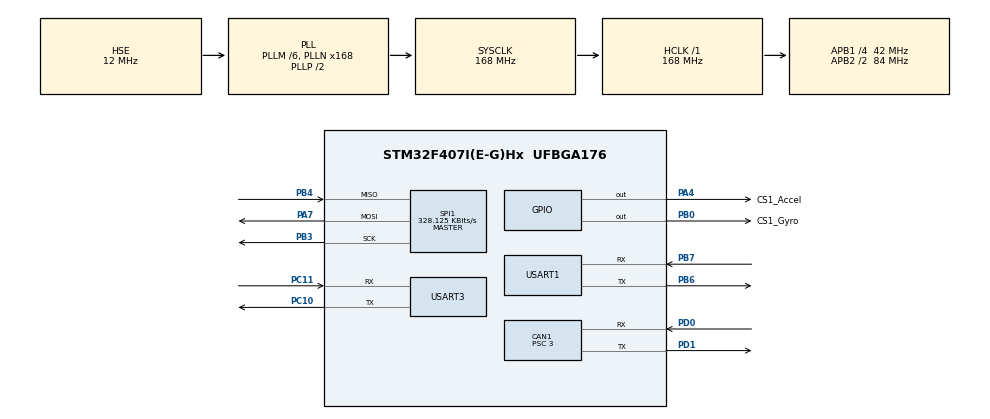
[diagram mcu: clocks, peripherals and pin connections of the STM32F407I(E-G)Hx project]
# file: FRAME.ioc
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CAN1.ABOM=ENABLE
CAN1.BS1=CAN_BS1_10TQ
CAN1.BS2=CAN_BS2_3TQ
CAN1.CalculateBaudRate=1000000
CAN1.CalculateTimeBit=1000
CAN1.CalculateTimeQuantum=71.42857142857143
CAN1.Prescaler=3
Dma.Request0=USART1_TX
Dma.Request1=USART3_RX
Dma.USART1_TX.0.Direction=DMA_MEMORY_TO_PERIPH
Dma.USART1_TX.0.FIFOMode=DMA_FIFOMODE_DISABLE
Dma.USART1_TX.0.Instance=DMA2_Stream7
Dma.USART1_TX.0.MemDataAlignment=DMA_MDATAALIGN_BYTE
Dma.USART1_TX.0.MemInc=DMA_MINC_ENABLE
Dma.USART1_TX.0.Mode=DMA_NORMAL
Dma.USART1_TX.0.PeriphDataAlignment=DMA_PDATAALIGN_BYTE
Dma.USART1_TX.0.PeriphInc=DMA_PINC_DISABLE
Dma.USART1_TX.0.Priority=DMA_PRIORITY_VERY_HIGH
Dma.USART3_RX.1.Direction=DMA_PERIPH_TO_MEMORY
Dma.USART3_RX.1.FIFOMode=DMA_FIFOMODE_DISABLE
Dma.USART3_RX.1.Instance=DMA1_Stream1
Dma.USART3_RX.1.MemDataAlignment=DMA_MDATAALIGN_BYTE
Dma.USART3_RX.1.MemInc=DMA_MINC_ENABLE
Dma.USART3_RX.1.Mode=DMA_NORMAL
Dma.USART3_RX.1.PeriphDataAlignment=DMA_PDATAALIGN_BYTE
Dma.USART3_RX.1.PeriphInc=DMA_PINC_DISABLE
Dma.USART3_RX.1.Priority=DMA_PRIORITY_VERY_HIGH
Mcu.Family=STM32F4
Mcu.Name=STM32F407I(E-G)Hx
Mcu.Package=UFBGA176
NVIC.CAN1_RX0_IRQn=true\:0\:0\:false\:false\:true\:true\:true\:true
NVIC.CAN1_RX1_IRQn=true\:0\:0\:false\:false\:true\:true\:true\:true
NVIC.CAN1_SCE_IRQn=true\:0\:0\:false\:false\:true\:true\:true\:true
NVIC.CAN1_TX_IRQn=true\:0\:0\:false\:false\:true\:true\:true\:true
NVIC.DMA1_Stream1_IRQn=true\:0\:0\:false\:false\:true\:false\:true\:true
NVIC.DMA2_Stream7_IRQn=true\:0\:0\:false\:false\:true\:false\:true\:true
NVIC.PriorityGroup=NVIC_PRIORITYGROUP_4
NVIC.SPI1_IRQn=true\:0\:0\:false\:false\:true\:true\:true\:true
NVIC.TIM1_BRK_TIM9_IRQn=true\:0\:0\:false\:false\:true\:true\:true\:true
NVIC.TIM1_CC_IRQn=true\:0\:0\:false\:false\:true\:true\:true\:true
NVIC.TIM1_TRG_COM_TIM11_IRQn=true\:0\:0\:false\:false\:true\:true\:true\:true
NVIC.TIM1_UP_TIM10_IRQn=true\:0\:0\:false\:false\:true\:true\:true\:true
NVIC.USART1_IRQn=true\:0\:0\:false\:false\:true\:false\:true\:true
PA13.Mode=Serial_Wire
PA13.Signal=SYS_JTMS-SWDIO
PA14.Mode=Serial_Wire
PA14.Signal=SYS_JTCK-SWCLK
PA4.GPIO_Label=CS1_Accel
PA4.GPIO_ModeDefaultOutputPP=GPIO_MODE_OUTPUT_PP
PA4.GPIO_PuPd=GPIO_PULLUP
PA4.PinState=GPIO_PIN_SET
PA4.Signal=GPIO_Output
PA7.Mode=Full_Duplex_Master
PA7.Signal=SPI1_MOSI
PB0.GPIO_Label=CS1_Gyro
PB0.GPIO_PuPd=GPIO_PULLUP
PB0.PinState=GPIO_PIN_SET
PB0.Signal=GPIO_Output
PB3.Mode=Full_Duplex_Master
PB3.Signal=SPI1_SCK
PB4.Mode=Full_Duplex_Master
PB4.Signal=SPI1_MISO
PB6.Mode=Asynchronous
PB6.Signal=USART1_TX
PB7.Mode=Asynchronous
PB7.Signal=USART1_RX
PC10.Mode=Asynchronous
PC10.Signal=USART3_TX
PC11.Mode=Asynchronous
PC11.Signal=USART3_RX
PD0.Mode=CAN_Activate
PD0.Signal=CAN1_RX
PD1.Mode=CAN_Activate
PD1.Signal=CAN1_TX
PH0-OSC_IN.Mode=HSE-External-Oscillator
PH0-OSC_IN.Signal=RCC_OSC_IN
PH1-OSC_OUT.Mode=HSE-External-Oscillator
PH1-OSC_OUT.Signal=RCC_OSC_OUT
ProjectManager.HeapSize=0x200
ProjectManager.StackSize=0x400
ProjectManager.TargetToolchain=STM32CubeIDE
RCC.48MHZClocksFreq_Value=84000000
RCC.AHBFreq_Value=168000000
RCC.APB1CLKDivider=RCC_HCLK_DIV4
RCC.APB1Freq_Value=42000000
RCC.APB1TimFreq_Value=84000000
RCC.APB2CLKDivider=RCC_HCLK_DIV2
RCC.APB2Freq_Value=84000000
RCC.APB2TimFreq_Value=168000000
RCC.CortexFreq_Value=168000000
RCC.HCLKFreq_Value=168000000
RCC.HSE_VALUE=12000000
RCC.HSI_VALUE=16000000
RCC.LSE_VALUE=32768
RCC.PLLM=6
RCC.PLLN=168
RCC.PLLSourceVirtual=RCC_PLLSOURCE_HSE
RCC.SYSCLKFreq_VALUE=168000000
RCC.SYSCLKSource=RCC_SYSCLKSOURCE_PLLCLK
RCC.VCOOutputFreq_Value=336000000
SPI1.BaudRatePrescaler=SPI_BAUDRATEPRESCALER_256
SPI1.CLKPhase=SPI_PHASE_2EDGE
SPI1.CLKPolarity=SPI_POLARITY_HIGH
SPI1.CalculateBaudRate=328.125 KBits/s
SPI1.Direction=SPI_DIRECTION_2LINES
SPI1.Mode=SPI_MODE_MASTER
SPI1.VirtualType=VM_MASTER
TIM1.Period=1000-1
TIM1.Prescaler=168-1
USART1.VirtualMode=VM_ASYNC
USART3.VirtualMode=VM_ASYNC
VP_TIM1_VS_ClockSourceINT.Mode=Internal
board=custom

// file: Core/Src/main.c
/* USER CODE BEGIN Header */
/**
  ******************************************************************************
  * @file           : main.c
  * @brief          : Main program body
  ******************************************************************************
  * @attention
  *
  * Copyright (c) 2024 STMicroelectronics.
  * All rights reserved.
  *
  * This software is licensed under terms that can be found in the LICENSE file
  * in the root directory of this software component.
  * If no LICENSE file comes with this software, it is provided AS-IS.
  *
  ******************************************************************************
  */
/* USER CODE END Header */
#include "main.h"
#include "can.h"
#include "dma.h"
#include "spi.h"
#include "tim.h"
#include "usart.h"
#include "gpio.h"

/* USER CODE BEGIN Includes */
#include <ctype.h>
#include <math.h>
#include "imu.h"
#include "motor.h"

/* USER CODE END Includes */

void SystemClock_Config(void);

/* USER CODE BEGIN 0 */

//uint32_t mainCnt = 0;

void ConfigureCANFilter(CAN_HandleTypeDef *hcan, uint32_t filterBank, uint32_t canId) {
  CAN_FilterTypeDef filterConfig;

  filterConfig.FilterActivation = ENABLE;
  filterConfig.FilterIdHigh = canId >> 16;
  filterConfig.FilterIdLow = canId & 0xFFFF;
  filterConfig.FilterMaskIdHigh = 0x0000;
  filterConfig.FilterMaskIdLow = 0x0000;
  filterConfig.FilterMode = CAN_FILTERMODE_IDMASK;
  filterConfig.FilterScale = CAN_FILTERSCALE_32BIT;
  filterConfig.FilterFIFOAssignment = CAN_FILTER_FIFO0;
  filterConfig.FilterBank = filterBank;

  HAL_CAN_ConfigFilter(hcan, &filterConfig);
}

/* USER CODE END 0 */

int main(void)
{

  /* MCU Configuration--------------------------------------------------------*/

  /* Reset of all peripherals, Initializes the Flash interface and the Systick. */
  HAL_Init();

  /* Configure the system clock */
  SystemClock_Config();

  /* Initialize all configured peripherals */
  MX_GPIO_Init();
  MX_DMA_Init();
  MX_TIM1_Init();
  MX_USART1_UART_Init();
  MX_USART3_UART_Init();
  MX_CAN1_Init();
  MX_SPI1_Init();
  /* USER CODE BEGIN 2 */
  imu.init();
  HAL_TIM_Base_Start_IT(&htim1);

  ConfigureCANFilter(&hcan1, 0, CAN_MOTOR_YAW_ID);
  ConfigureCANFilter(&hcan1, 1, CAN_MOTOR_PIT_ID);

  HAL_CAN_Start(&hcan1);
  HAL_CAN_ActivateNotification(&hcan1, CAN_IT_RX_FIFO0_MSG_PENDING);

  /* USER CODE END 2 */

  /* Infinite loop */
  while (1)
  {

  }
}

void SystemClock_Config(void)
{
  RCC_OscInitTypeDef RCC_OscInitStruct = {0};
  RCC_ClkInitTypeDef RCC_ClkInitStruct = {0};

  /** Configure the main internal regulator output voltage
  */
  __HAL_RCC_PWR_CLK_ENABLE();
  __HAL_PWR_VOLTAGESCALING_CONFIG(PWR_REGULATOR_VOLTAGE_SCALE1);

  /** Initializes the RCC Oscillators according to the specified parameters
  * in the RCC_OscInitTypeDef structure.
  */
  RCC_OscInitStruct.OscillatorType = RCC_OSCILLATORTYPE_HSE;
  RCC_OscInitStruct.HSEState = RCC_HSE_ON;
  RCC_OscInitStruct.PLL.PLLState = RCC_PLL_ON;
  RCC_OscInitStruct.PLL.PLLSource = RCC_PLLSOURCE_HSE;
  RCC_OscInitStruct.PLL.PLLM = 6;
  RCC_OscInitStruct.PLL.PLLN = 168;
  RCC_OscInitStruct.PLL.PLLP = RCC_PLLP_DIV2;
  RCC_OscInitStruct.PLL.PLLQ = 4;
  if (HAL_RCC_OscConfig(&RCC_OscInitStruct) != HAL_OK)
  {
    Error_Handler();
  }

  /** Initializes the CPU, AHB and APB buses clocks
  */
  RCC_ClkInitStruct.ClockType = RCC_CLOCKTYPE_HCLK|RCC_CLOCKTYPE_SYSCLK
                              |RCC_CLOCKTYPE_PCLK1|RCC_CLOCKTYPE_PCLK2;
  RCC_ClkInitStruct.SYSCLKSource = RCC_SYSCLKSOURCE_PLLCLK;
  RCC_ClkInitStruct.AHBCLKDivider = RCC_SYSCLK_DIV1;
  RCC_ClkInitStruct.APB1CLKDivider = RCC_HCLK_DIV4;
  RCC_ClkInitStruct.APB2CLKDivider = RCC_HCLK_DIV2;

  if (HAL_RCC_ClockConfig(&RCC_ClkInitStruct, FLASH_LATENCY_5) != HAL_OK)
  {
    Error_Handler();
  }
}

void Error_Handler(void)
{
  __disable_irq();
  while (1)
  {
  }
}
